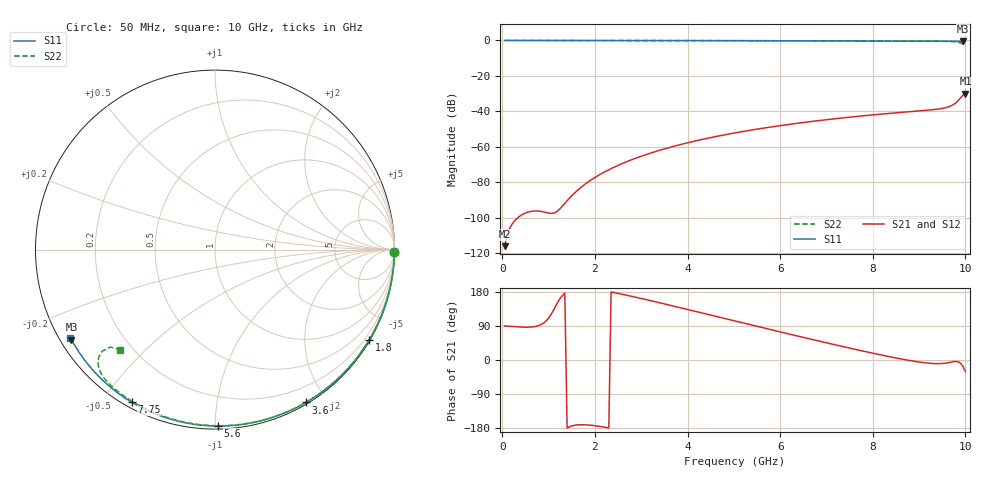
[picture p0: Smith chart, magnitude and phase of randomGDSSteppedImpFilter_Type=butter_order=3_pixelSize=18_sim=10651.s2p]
! freq	dB(S11)	phase(S11)	dB(S12)	phase(S12)
!  dB(S21)	phase(S21)	dB(S22)	phase(S22)
!S-par simulation data
#  GHz  S  DB  R 50
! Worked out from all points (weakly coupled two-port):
!   200 points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, 50 MHz to 10 GHz, reference 50 ohm
!   highest |S21| = -29.93 dB at 10 GHz (marker M1); lowest = -115.9 dB at 50 MHz (marker M2)
!   lowest |S11| = -0.5 dB at 9.95 GHz (marker M3), VSWR 35.23, Z = 1.54 - j14.4 ohm
!   |S11| at or under -10 dB: nowhere
!   |S22| runs from -2.3 to 0.0 dB; largest |S21 - S12| = 0
!   S11 on the Smith chart (normalised r, x): 50 MHz: open; 1.8 GHz: 0.03, -3.69; 3.6 GHz: 0.02, -1.76; 5.6 GHz: 0.02, -1.02; 7.75 GHz: 0.02, -0.59; 10 GHz: 0.03, -0.28
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0.05  -0.00 -0.9  -115.93 89.7  -115.93 89.7  -0.00 -0.8
0.9  -0.02 -15.3  -96.64 98.2  -96.64 98.2  -0.02 -13.7
1.75  -0.04 -29.5  -81.73 -170.8  -81.73 -170.8  -0.03 -26.4
1.8  -0.04 -30.4  -80.74 -171.1  -80.74 -171.1  -0.03 -27.1
1.85  -0.04 -31.2  -79.80 -171.4  -79.80 -171.4  -0.04 -27.9
2.15  -0.05 -36.1  -74.93 -176.1  -74.93 -176.1  -0.04 -32.3
2.55  -0.05 -42.6  -69.81 174.5  -69.81 174.5  -0.05 -38.1
2.95  -0.06 -49.0  -65.70 163.7  -65.70 163.7  -0.06 -43.9
3.4  -0.07 -56.1  -61.87 150.9  -61.87 150.9  -0.07 -50.3
3.6  -0.08 -59.2  -60.37 145.1  -60.37 145.1  -0.07 -53.1
4.3  -0.10 -69.9  -55.87 124.4  -55.87 124.4  -0.09 -62.8
5.05  -0.13 -81.1  -51.97 102.2  -51.97 102.2  -0.11 -72.8
5.6  -0.15 -89.0  -49.56 85.9  -49.56 85.9  -0.13 -80.0
6.7  -0.20 -104.4  -45.59 53.9  -45.59 53.9  -0.18 -93.9
7.75  -0.28 -118.6  -42.58 24.6  -42.58 24.6  -0.24 -106.8
8.35  -0.33 -126.7  -41.13 9.0  -41.13 9.0  -0.29 -114.1
9.1  -0.40 -136.6  -39.49 -7.0  -39.49 -7.0  -0.36 -123.6
9.55  -0.45 -142.6  -38.06 -8.7  -38.06 -8.7  -0.47 -130.3
9.75  -0.48 -145.2  -35.99 -4.4  -35.99 -4.4  -0.69 -134.5
9.85  -0.49 -146.6  -33.71 -4.8  -33.71 -4.8  -1.07 -137.2
9.95  -0.49 -147.9  -30.76 -17.6  -30.76 -17.6  -1.98 -137.0
10  -0.49 -148.5  -29.93 -30.5  -29.93 -30.5  -2.28 -133.4
